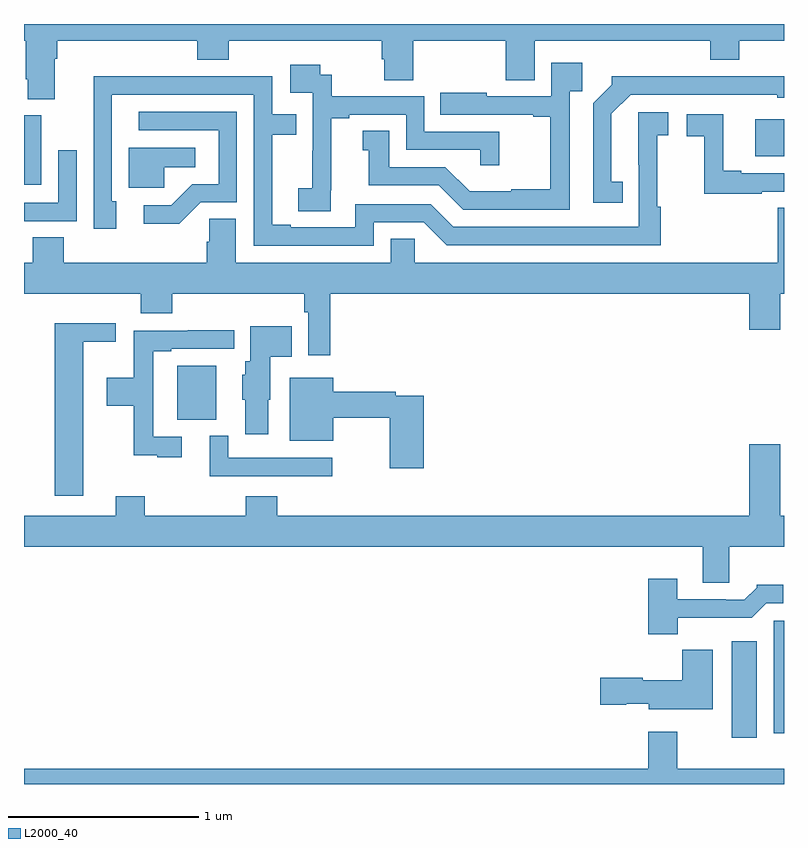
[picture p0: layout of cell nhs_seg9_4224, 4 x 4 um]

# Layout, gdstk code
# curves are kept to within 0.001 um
import gdstk
lib = gdstk.Library(unit=1e-6, precision=1e-09)
def R(c, l, rs):  # rectangles x0, y0, x1, y1
    for r in rs: c.add(gdstk.rectangle(r[:2], r[2:], *l))
def P(c, l, *ps):  # polygons
    for p in ps: c.add(gdstk.Polygon(p, *l))
L2000_40 = (2000, 40)

nhs_seg9_4224 = lib.new_cell('nhs_seg9_4224')
R(nhs_seg9_4224, L2000_40, [(356.726,1200.744,356.857,1201.252), (356.945,1200.768,357,1201.359), (353.807,1202.417,354.013,1202.701), (353,1203.653,353.092,1204.02), (356.849,1203.803,357,1204)])
P(nhs_seg9_4224, L2000_40, [(353.161,1204.316),(353.174,1204.316),(353.174,1204.412),(353.912,1204.412),(353.912,1204.313),(354.077,1204.313),(354.077,1204.412),(354.884,1204.412),(354.884,1204.314),(354.896,1204.314),(354.896,1204.204),(355.049,1204.204),(355.049,1204.412),(355.535,1204.412),(355.535,1204.204),(355.687,1204.204),(355.687,1204.412),(356.612,1204.412),(356.612,1204.313),(356.764,1204.313),(356.764,1204.412),(357,1204.412),(357,1204.5),(353,1204.5),(353,1204.412),(353.009,1204.412),(353.009,1204.21),(353.021,1204.21),(353.021,1204.105),(353.161,1204.105)],
  [(355.872,1204.145),(355.937,1204.145),(355.937,1204.297),(355.776,1204.297),(355.776,1204.119),(355.435,1204.119),(355.435,1204.138),(355.192,1204.138),(355.192,1204.023),(355.679,1204.023),(355.679,1204.011),(355.771,1204.011),(355.771,1203.631),(355.565,1203.631),(355.565,1203.619),(355.346,1203.619),(355.218,1203.747),(354.922,1203.747),(354.922,1203.938),(354.782,1203.938),(354.782,1203.835),(354.815,1203.835),(354.815,1203.651),(355.182,1203.651),(355.311,1203.522),(355.872,1203.522)],
  [(354.614,1203.625),(354.616,1203.625),(354.616,1204.003),(354.712,1204.003),(354.712,1204.023),(355.011,1204.023),(355.011,1203.837),(355.401,1203.837),(355.401,1203.756),(355.502,1203.756),(355.502,1203.933),(355.107,1203.933),(355.107,1204.119),(354.62,1204.119),(354.62,1204.233),(354.558,1204.233),(354.558,1204.285),(354.402,1204.285),(354.402,1204.137),(354.519,1204.137),(354.519,1203.833),(354.518,1203.833),(354.518,1203.636),(354.444,1203.636),(354.444,1203.514),(354.614,1203.514)],
  [(356.15,1203.671),(356.092,1203.671),(356.092,1204.027),(356.193,1204.128),(356.964,1204.128),(356.964,1204.112),(357,1204.112),(357,1204.224),(356.528,1204.224),(356.528,1204.226),(356.094,1204.226),(356.094,1204.181),(355.995,1204.082),(355.995,1203.558),(356.15,1203.558)],
  [(354.84,1203.456),(355.104,1203.456),(355.224,1203.336),(356.351,1203.336),(356.351,1203.539),(356.334,1203.539),(356.334,1203.915),(356.392,1203.915),(356.392,1204.036),(356.234,1204.036),(356.235,1203.432),(355.26,1203.432),(355.14,1203.552),(354.744,1203.552),(354.744,1203.429),(354.403,1203.429),(354.403,1203.444),(354.307,1203.444),(354.307,1203.918),(354.434,1203.918),(354.434,1204.026),(354.306,1204.026),(354.306,1204.224),(353.828,1204.224),(353.828,1204.226),(353.366,1204.226),(353.367,1203.423),(353.485,1203.423),(353.485,1203.567),(353.463,1203.567),(353.463,1204.128),(354.21,1204.128),(354.21,1203.333),(354.84,1203.333)],
  [(353.931,1203.561),(354.12,1203.561),(354.12,1204.038),(353.604,1204.038),(353.604,1203.942),(354.024,1203.942),(354.024,1203.657),(353.886,1203.657),(353.775,1203.546),(353.631,1203.546),(353.631,1203.449),(353.818,1203.449)],
  [(356.882,1203.618),(357,1203.618),(357,1203.714),(356.776,1203.714),(356.776,1203.727),(356.68,1203.727),(356.68,1204.026),(356.487,1204.026),(356.487,1203.91),(356.581,1203.91),(356.581,1203.606),(356.882,1203.606)],
  [(353.739,1203.746),(353.902,1203.746),(353.902,1203.85),(353.552,1203.85),(353.552,1203.639),(353.739,1203.639)],
  [(353.277,1203.835),(353.181,1203.835),(353.181,1203.558),(353,1203.558),(353,1203.462),(353.277,1203.462)],
  [(356.816,1202.892),(356.98,1202.892),(356.98,1203.08),(357,1203.08),(357,1203.533),(356.966,1203.533),(356.966,1203.244),(355.056,1203.244),(355.056,1203.371),(354.929,1203.371),(354.929,1203.244),(354.115,1203.244),(354.115,1203.476),(353.976,1203.476),(353.976,1203.353),(353.963,1203.353),(353.963,1203.244),(353.21,1203.244),(353.21,1203.377),(353.045,1203.377),(353.045,1203.244),(353,1203.244),(353,1203.08),(353.615,1203.08),(353.615,1202.978),(353.78,1202.978),(353.78,1203.08),(354.475,1203.08),(354.475,1202.984),(354.495,1202.984),(354.495,1202.757),(354.611,1202.757),(354.611,1203.08),(356.816,1203.08)],
  [(353.311,1202.828),(353.482,1202.828),(353.482,1202.926),(353.162,1202.926),(353.162,1202.016),(353.311,1202.016)],
  [(354.286,1202.523),(354.295,1202.523),(354.295,1202.75),(354.41,1202.75),(354.41,1202.908),(354.191,1202.908),(354.191,1202.724),(354.164,1202.724),(354.164,1202.655),(354.149,1202.655),(354.149,1202.523),(354.164,1202.523),(354.164,1202.34),(354.286,1202.34)],
  [(353.83,1202.328),(353.679,1202.328),(353.679,1202.778),(353.776,1202.778),(353.776,1202.79),(354.106,1202.79),(354.106,1202.888),(353.863,1202.888),(353.863,1202.886),(353.578,1202.886),(353.578,1202.638),(353.436,1202.638),(353.436,1202.491),(353.578,1202.491),(353.578,1202.231),(353.702,1202.231),(353.702,1202.22),(353.83,1202.22)],
  [(355.103,1202.544),(354.956,1202.544),(354.956,1202.564),(354.628,1202.564),(354.628,1202.638),(354.398,1202.638),(354.398,1202.306),(354.628,1202.306),(354.628,1202.428),(354.925,1202.428),(354.925,1202.163),(355.103,1202.163)],
  [(354.622,1202.217),(354.075,1202.217),(354.075,1202.332),(353.978,1202.332),(353.978,1202.121),(354.622,1202.121)],
  [(356.713,1201.748),(357,1201.748),(357,1201.912),(356.98,1201.912),(356.98,1202.287),(356.816,1202.287),(356.816,1201.912),(354.332,1201.912),(354.332,1202.014),(354.167,1202.014),(354.167,1201.912),(353.636,1201.912),(353.636,1202.014),(353.483,1202.014),(353.483,1201.912),(353,1201.912),(353,1201.748),(356.573,1201.748),(356.573,1201.558),(356.713,1201.558)],
  [(356.44,1201.376),(356.831,1201.376),(356.907,1201.452),(356.995,1201.452),(356.995,1201.549),(356.856,1201.549),(356.856,1201.534),(356.792,1201.47),(356.693,1201.47),(356.693,1201.473),(356.437,1201.473),(356.437,1201.579),(356.285,1201.579),(356.285,1201.289),(356.44,1201.289)],
  [(356.626,1201.207),(356.464,1201.207),(356.464,1201.045),(356.256,1201.045),(356.256,1201.058),(356.034,1201.058),(356.034,1200.916),(356.169,1200.916),(356.169,1200.923),(356.288,1200.923),(356.288,1200.893),(356.626,1200.893)],
  [(357,1200.58),(356.437,1200.58),(356.437,1200.775),(356.285,1200.775),(356.285,1200.58),(353,1200.58),(353,1200.5),(357,1200.5)])

lib.write_gds('nhs_seg9_4224.gds')
